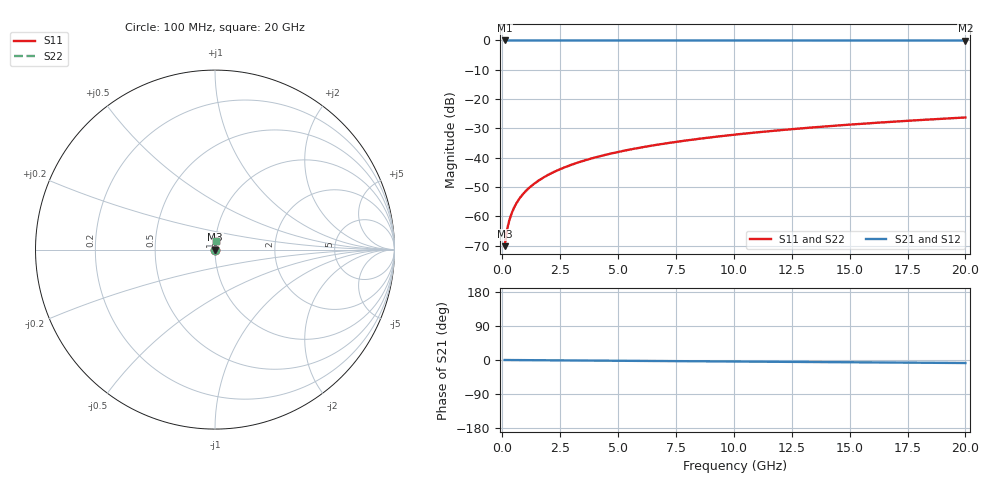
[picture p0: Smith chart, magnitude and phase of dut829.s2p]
! Touchstone file exported from HFSS 2026.1.0
!  File:  C:/ffzhzh/LocalFiles/Ansys_Project_Files/temp_train_TSV_829_1783184657_22436.aedt
!  Generated:  01:06:00 AM Jul  5, 2026
!  Design:  TSV
!  Project:  temp_train_TSV_829_1783184657_22436
! Variables:
!  h_bsmrdl = 2um
!  h_ox = 20um
!  h_rdl = 5um
!  h_sub = 68.51um
!  h_tmrdl = 5um
!  h_tsv = 68.51um
!  h_via = 3um
!  l_bsmrdl = 300um
!  l_sub = 417.74um
!  l_tmrdl = 200um
!  m_sub = 200um
!  pitch = 56.18um
!  r_tsv = 8.87um
!  s_tmrdl = 10um
!  w_bsmrdl = 18um
!  w_sub = 500um
!  w_tmrdl = 12um
!  x_tsv_center1 = 206um
!  x_tsv_center2 = 524um
!  x_tsv_center3 = 736um
!  x_tsv_center4 = 1054um
!  x_tsv_center5 = 1266um
!  x_tsv_center6 = 1584um
# GHz S MA R 50.000000
! Terminal data exported
! Port[1] = TSV1_1_T1
! Port[2] = TSV1_1_T2
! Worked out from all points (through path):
!   200 points, 100 MHz to 20 GHz, reference 50 ohm
!   highest |S21| = 0.00 dB at 100 MHz (marker M1); lowest = 0.0 dB at 20 GHz (marker M2)
!   group delay of S21, straight-line fit = 1.1 ps
!   lowest |S11| = -70.2 dB at 100 MHz (marker M3), VSWR 1.00, Z = 50 + j0.028 ohm
!   |S11| at or under -10 dB: start of sweep to end of sweep
!   |S22| runs from -70.2 to -26.3 dB; largest |S21 - S12| = 2.3e-15
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0.1  0.0003099 64.5  0.9999 -0.0  0.9999 -0.0  0.0003099 64.5
! Gamma 0 0 0 0
! Port Impedance 50 0 50 0
0.2  0.0005757 75.6  0.9999 -0.1  0.9999 -0.1  0.0005757 75.6
0.3  0.0008469 79.3  0.9998 -0.1  0.9998 -0.1  0.0008469 79.3
0.4  0.001116 80.9  0.9998 -0.2  0.9998 -0.2  0.001116 80.9
0.5  0.001382 81.8  0.9998 -0.2  0.9998 -0.2  0.001382 81.8
0.6  0.001644 82.4  0.9998 -0.2  0.9998 -0.2  0.001644 82.4
0.7  0.001903 82.8  0.9998 -0.3  0.9998 -0.3  0.001903 82.8
0.8  0.002158 83.1  0.9997 -0.3  0.9997 -0.3  0.002158 83.1
1  0.002663 83.5  0.9997 -0.4  0.9997 -0.4  0.002663 83.5
1.4  0.00366 84.2  0.9997 -0.6  0.9997 -0.6  0.00366 84.2
1.7  0.004403 84.6  0.9996 -0.7  0.9996 -0.7  0.004403 84.6
2  0.005145 84.9  0.9996 -0.8  0.9996 -0.8  0.005145 84.9
2.7  0.006874 85.2  0.9995 -1.1  0.9995 -1.1  0.006874 85.2
3.5  0.008846 85.4  0.9995 -1.4  0.9995 -1.4  0.008846 85.4
4.2  0.01057 85.4  0.9994 -1.7  0.9994 -1.7  0.01057 85.4
5  0.01252 85.3  0.9993 -2.0  0.9993 -2.0  0.01252 85.3
6.8  0.01691 84.9  0.9992 -2.7  0.9992 -2.7  0.01691 84.9
8.3  0.02054 84.5  0.999 -3.3  0.999 -3.3  0.02054 84.5
10.1  0.02489 84.0  0.9988 -4.0  0.9988 -4.0  0.02489 84.0
13.4  0.03283 83.0  0.9985 -5.3  0.9985 -5.3  0.03283 83.0
16.7  0.04072 81.8  0.9981 -6.6  0.9981 -6.6  0.04072 81.8
20  0.04855 80.7  0.9976 -7.9  0.9976 -7.9  0.04855 80.7
